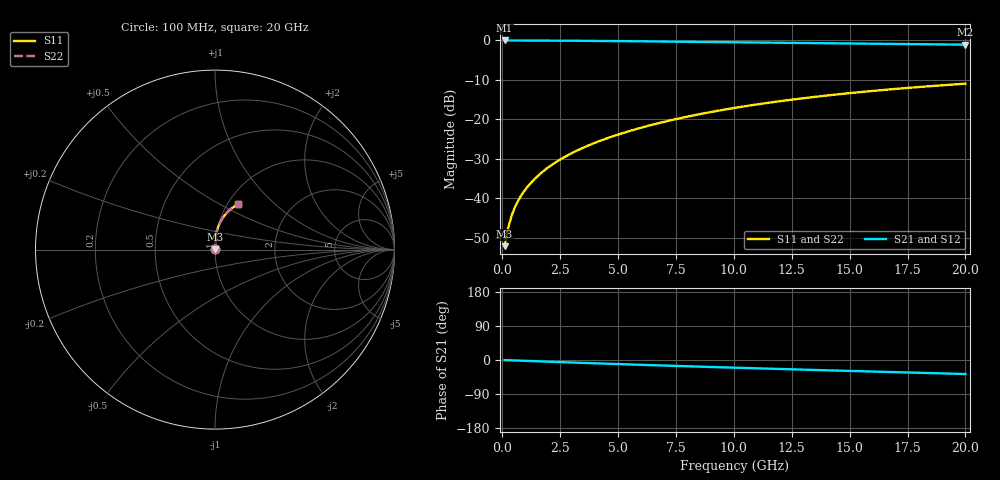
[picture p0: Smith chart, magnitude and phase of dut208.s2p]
! Touchstone file exported from HFSS 2024.1.0
!  File:  C:/UserFiles/LocalFiles/RDL_TSV_Batchsim/temp_RDL_top_208_1778687290.aedt
!  Generated:  11:50:03 PM May 13, 2026
!  Design:  RDL_top
!  Project:  temp_RDL_top_208_1778687290
!  Setup:  Setup1
!  Solution:  Sweep
! Variables:
!  dtsv = 10.80580581um
!  hbump = 3um
!  htsv = 93.83um
!  ldown = 100um
!  lrdl = 576.06um
!  p = 40
!  p1 = 43.21um
!  rhole = 1um
!  t = 450um
!  tdown = 3.915915916um
!  trdl = 4.89um
!  wdown = 15.38538539um
!  wrdl = 23.03um
# GHz S MA R 50.000000
! Terminal data exported
! Port[1] = Box2_T1
! Port[2] = Box2_T2
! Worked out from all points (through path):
!   200 points, 100 MHz to 20 GHz, reference 50 ohm
!   highest |S21| = -0.02 dB at 100 MHz (marker M1); lowest = -1.1 dB at 20 GHz (marker M2)
!   group delay of S21, straight-line fit = 5.08 ps
!   lowest |S11| = -52.2 dB at 100 MHz (marker M3), VSWR 1.00, Z = 50.2 + j0.143 ohm
!   |S11| at or under -10 dB: start of sweep to end of sweep
!   |S22| runs from -52.2 to -11.0 dB; largest |S21 - S12| = 6.1e-15
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0.1  0.002459 35.5  0.998 -0.2  0.998 -0.2  0.002459 35.5
! Gamma 0 0 0 0
! Port Impedance 50 0 50 0
0.2  0.003519 53.2  0.9978 -0.5  0.9978 -0.5  0.00352 53.2
0.3  0.00472 61.5  0.9976 -0.7  0.9976 -0.7  0.004721 61.5
0.4  0.005928 66.1  0.9974 -0.9  0.9974 -0.9  0.00593 66.1
0.5  0.007117 69.1  0.9973 -1.1  0.9973 -1.1  0.00712 69.1
0.6  0.008285 71.3  0.9971 -1.4  0.9971 -1.4  0.008289 71.3
0.8  0.01059 74.5  0.9968 -1.8  0.9968 -1.8  0.0106 74.5
1.1  0.01405 77.9  0.9962 -2.5  0.9962 -2.5  0.01405 77.8
1.3  0.01637 79.5  0.9958 -2.9  0.9958 -2.9  0.01638 79.4
1.6  0.01991 81.3  0.9951 -3.6  0.9951 -3.6  0.01991 81.3
2.1  0.02593 83.4  0.9935 -4.7  0.9935 -4.7  0.02593 83.3
2.7  0.03336 84.9  0.9913 -6.0  0.9913 -6.0  0.03336 84.9
3.5  0.04362 86.0  0.9876 -7.7  0.9876 -7.7  0.0436 86.0
4.2  0.05293 86.5  0.9839 -9.1  0.9839 -9.1  0.0529 86.4
5  0.06394 86.5  0.9793 -10.8  0.9793 -10.8  0.06389 86.4
6.8  0.08997 85.4  0.9679 -14.3  0.9679 -14.3  0.08987 85.3
8.4  0.1142 83.5  0.9574 -17.3  0.9574 -17.3  0.114 83.4
10.1  0.1404 80.9  0.9461 -20.4  0.9461 -20.4  0.1402 80.9
11.7  0.165 78.2  0.9355 -23.2  0.9355 -23.2  0.1648 78.2
13.4  0.1908 75.2  0.9244 -26.2  0.9244 -26.2  0.1905 75.1
16.7  0.2386 69.2  0.9032 -31.7  0.9032 -31.7  0.2382 69.1
20  0.2824 63.3  0.8825 -37.0  0.8825 -37.0  0.2819 63.2
